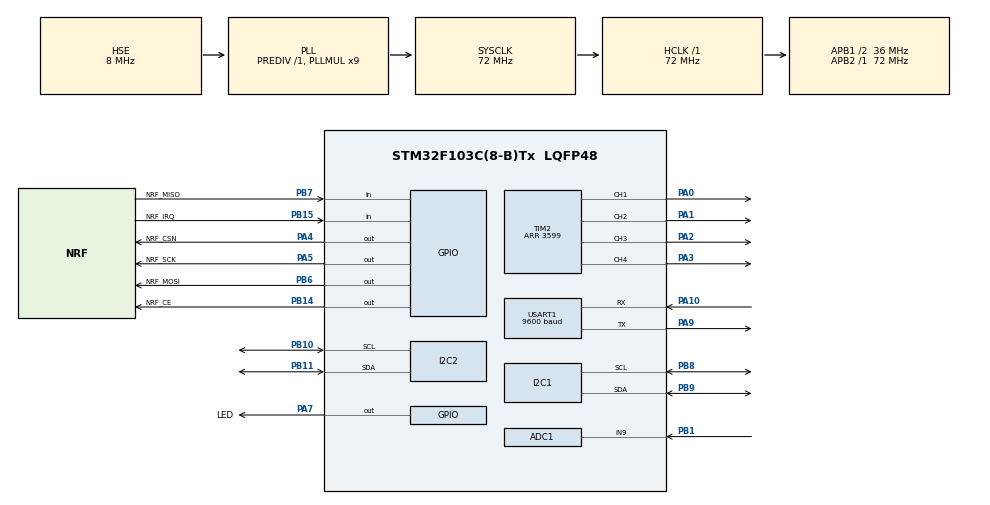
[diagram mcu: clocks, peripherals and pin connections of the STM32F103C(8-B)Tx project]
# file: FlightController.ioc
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ADC1.Channel-0\#ChannelRegularConversion=ADC_CHANNEL_9
ADC1.NbrOfConversionFlag=1
ADC1.Rank-0\#ChannelRegularConversion=1
ADC1.SamplingTime-0\#ChannelRegularConversion=ADC_SAMPLETIME_55CYCLES_5
ADC1.master=1
I2C1.I2C_Mode=I2C_Fast
Mcu.Family=STM32F1
Mcu.Name=STM32F103C(8-B)Tx
Mcu.Package=LQFP48
NVIC.I2C1_ER_IRQn=true\:3\:0\:false\:false\:true\:true\:true\:false
NVIC.I2C1_EV_IRQn=true\:3\:0\:false\:false\:true\:true\:true\:false
NVIC.PriorityGroup=NVIC_PRIORITYGROUP_2
NVIC.TIM1_UP_IRQn=true\:1\:1\:true\:false\:true\:true\:true\:true
NVIC.USART1_IRQn=true\:2\:2\:true\:false\:true\:true\:true\:true
PA0-WKUP.GPIO_Speed=GPIO_SPEED_FREQ_HIGH
PA0-WKUP.Signal=S_TIM2_CH1_ETR
PA1.GPIO_Speed=GPIO_SPEED_FREQ_HIGH
PA1.Signal=S_TIM2_CH2
PA10.Mode=Asynchronous
PA10.Signal=USART1_RX
PA13.Mode=Serial_Wire
PA13.Signal=SYS_JTMS-SWDIO
PA14.Mode=Serial_Wire
PA14.Signal=SYS_JTCK-SWCLK
PA2.GPIO_Speed=GPIO_SPEED_FREQ_HIGH
PA2.Signal=S_TIM2_CH3
PA3.GPIO_Speed=GPIO_SPEED_FREQ_HIGH
PA3.Signal=S_TIM2_CH4
PA4.GPIO_Label=NRF_CSN
PA4.GPIO_Speed=GPIO_SPEED_FREQ_HIGH
PA4.Signal=GPIO_Output
PA5.GPIO_Label=NRF_SCK
PA5.GPIO_Speed=GPIO_SPEED_FREQ_HIGH
PA5.Signal=GPIO_Output
PA7.GPIO_Label=LED
PA7.GPIO_Speed=GPIO_SPEED_FREQ_HIGH
PA7.Signal=GPIO_Output
PA9.Mode=Asynchronous
PA9.Signal=USART1_TX
PB1.Signal=ADCx_IN9
PB10.Mode=I2C
PB10.Signal=I2C2_SCL
PB11.Mode=I2C
PB11.Signal=I2C2_SDA
PB14.GPIO_Label=NRF_CE
PB14.GPIO_Speed=GPIO_SPEED_FREQ_HIGH
PB14.Signal=GPIO_Output
PB15.GPIO_Label=NRF_IRQ
PB15.GPIO_PuPd=GPIO_PULLUP
PB15.Signal=GPIO_Input
PB6.GPIO_Label=NRF_MOSI
PB6.GPIO_Speed=GPIO_SPEED_FREQ_HIGH
PB6.Signal=GPIO_Output
PB7.GPIO_Label=NRF_MISO
PB7.GPIO_PuPd=GPIO_PULLUP
PB7.Signal=GPIO_Input
PB8.Mode=I2C
PB8.Signal=I2C1_SCL
PB9.Mode=I2C
PB9.Signal=I2C1_SDA
PD0-OSC_IN.Mode=HSE-External-Oscillator
PD0-OSC_IN.Signal=RCC_OSC_IN
PD1-OSC_OUT.Mode=HSE-External-Oscillator
PD1-OSC_OUT.Signal=RCC_OSC_OUT
ProjectManager.HeapSize=0x200
ProjectManager.StackSize=0x400
ProjectManager.TargetToolchain=CMake
RCC.ADCPresc=RCC_ADCPCLK2_DIV6
RCC.AHBFreq_Value=72000000
RCC.APB1CLKDivider=RCC_HCLK_DIV2
RCC.APB1Freq_Value=36000000
RCC.APB1TimFreq_Value=72000000
RCC.APB2Freq_Value=72000000
RCC.APB2TimFreq_Value=72000000
RCC.HCLKFreq_Value=72000000
RCC.PLLMUL=RCC_PLL_MUL9
RCC.PLLSourceVirtual=RCC_PLLSOURCE_HSE
RCC.SYSCLKFreq_VALUE=72000000
RCC.SYSCLKSource=RCC_SYSCLKSOURCE_PLLCLK
RCC.USBFreq_Value=72000000
SH.ADCx_IN9.0=ADC1_IN9,IN9
SH.S_TIM2_CH1_ETR.0=TIM2_CH1,PWM Generation1 CH1
SH.S_TIM2_CH2.0=TIM2_CH2,PWM Generation2 CH2
SH.S_TIM2_CH3.0=TIM2_CH3,PWM Generation3 CH3
SH.S_TIM2_CH4.0=TIM2_CH4,PWM Generation4 CH4
TIM1.AutoReloadPreload=TIM_AUTORELOAD_PRELOAD_ENABLE
TIM1.Period=1000-1
TIM1.Prescaler=72-1
TIM2.AutoReloadPreload=TIM_AUTORELOAD_PRELOAD_ENABLE
TIM2.Channel-PWM\ Generation1\ CH1=TIM_CHANNEL_1
TIM2.Channel-PWM\ Generation2\ CH2=TIM_CHANNEL_2
TIM2.Channel-PWM\ Generation3\ CH3=TIM_CHANNEL_3
TIM2.Channel-PWM\ Generation4\ CH4=TIM_CHANNEL_4
TIM2.Period=3599
USART1.BaudRate=9600
USART1.VirtualMode=VM_ASYNC
VP_TIM1_VS_ClockSourceINT.Mode=Internal
VP_TIM2_VS_ClockSourceINT.Mode=Internal
board=custom

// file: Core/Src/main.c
/* USER CODE BEGIN Header */
/**
  ******************************************************************************
  * @file           : main.c
  * @brief          : Main program body
  ******************************************************************************
  * @attention
  *
  * Copyright (c) 2026 STMicroelectronics.
  * All rights reserved.
  *
  * This software is licensed under terms that can be found in the LICENSE file
  * in the root directory of this software component.
  * If no LICENSE file comes with this software, it is provided AS-IS.
  *
  ******************************************************************************
  */
/* USER CODE END Header */
#include "main.h"
#include "adc.h"
#include "i2c.h"
#include "tim.h"
#include "usart.h"
#include "gpio.h"

/* USER CODE BEGIN Includes */
#include "Motor.h"
#include "mpu6050.h"
#include "inv_mpu.h"
#ifdef ATTITUDE_SOURCE_MEKF
#include "attitude_source.h"
#include "f103_port.h"
#endif
#include "OLED.h"
#include "LED.h"
#include "PowerDetection.h"
#include "BlueSerial.h"
#include "Data_Proc.h"
#include "Variable.h"
#include "Delay.h"
#include "NRF24L01.h"
/* USER CODE END Includes */

void SystemClock_Config(void);

int main(void)
{

  /* MCU Configuration--------------------------------------------------------*/

  /* Reset of all peripherals, Initializes the Flash interface and the Systick. */
  HAL_Init();

  /* Configure the system clock */
  SystemClock_Config();

  /* Initialize all configured peripherals */
  MX_GPIO_Init();
  MX_ADC1_Init();
  MX_I2C1_Init();
  MX_I2C2_Init();
  MX_TIM1_Init();
  MX_TIM2_Init();
  MX_USART1_UART_Init();
  /* USER CODE BEGIN 2 */

  Delay_Init();              /* 先启用 DWT，供设备初始化及收发使用 */
#ifdef ATTITUDE_SOURCE_MEKF
  OLED_Init();
  OLED_ShowString(0, 0, "IMU INIT", OLED_8X16);
  OLED_ShowString(0, 16, "KEEP STILL", OLED_8X16);
  OLED_Update();             /* 同步显示，随后才进入阻塞式姿态初始化 */
  AttitudeSource_Init();
#else
  MPU6050_Init();            /* 复位并等待传感器启动后，再核验身份 */
  uint8_t mpu_who_am_i = 0;
  if (mpu6050_read(MPU_ADDR, MPU_DEVICE_ID_REG, 1, &mpu_who_am_i) != 0 ||
      mpu_who_am_i != 0x68)
  {
    Error_Handler();
  }
  volatile uint8_t mpu_dmp_status = MPU6050_DMP_Init();
  if (mpu_dmp_status != 0)
  {
    Error_Handler();
  }
#endif
  LED_Init();
  Motor_Init();              /* HAL_TIM_PWM_Start 四路 + CCR 清零 */
  NRF24L01_Init();           /* 软件 SPI 配寄存器，进 RX 模式 */
  GetBattery_Init();         /* ADC 校准 */
#ifndef ATTITUDE_SOURCE_MEKF
  OLED_Init();               /* 硬件 I2C1；MEKF 已在姿态初始化前启动 */
#endif
  BlueSerial_Init();         /* HAL_UART_Receive_IT 启动接收 */
  if (HAL_TIM_Base_Start_IT(&htim1) != HAL_OK)
  {
    Error_Handler();
  }
  /* USER CODE END 2 */

  /* Infinite loop */
  while (1)
  {
    /* USER CODE BEGIN 3 */
    /* Zero stays pending until the main loop claims the task. */
    if (Attitude_Proc_time == SlowDown)
    {
        Attitude_Proc_time = 1;
        Attitude_Data_Proc();
    }
    if (Receive_Slow_time == SlowDown)
    {
        Receive_Slow_time = 1;
        Data_Receive();
    }
    if (Proc_Slow_time == SlowDown)
    {
        Proc_Slow_time = 1;
        Data_Proc();
    }
    if (Show_Slow_time == SlowDown)
    {
        Show_Slow_time = 1;
        Data_Display();
        BlueSerial_SendWave();
    }
    if (PowerDete_Slow_time == SlowDown)
    {
        PowerDete_Slow_time = 1;
        GetCur_Power();
    }
    OLED_Task();
  }
  /* USER CODE END 3 */
}

void SystemClock_Config(void)
{
  RCC_OscInitTypeDef RCC_OscInitStruct = {0};
  RCC_ClkInitTypeDef RCC_ClkInitStruct = {0};
  RCC_PeriphCLKInitTypeDef PeriphClkInit = {0};

  /** Initializes the RCC Oscillators according to the specified parameters
  * in the RCC_OscInitTypeDef structure.
  */
  RCC_OscInitStruct.OscillatorType = RCC_OSCILLATORTYPE_HSE;
  RCC_OscInitStruct.HSEState = RCC_HSE_ON;
  RCC_OscInitStruct.HSEPredivValue = RCC_HSE_PREDIV_DIV1;
  RCC_OscInitStruct.HSIState = RCC_HSI_ON;
  RCC_OscInitStruct.PLL.PLLState = RCC_PLL_ON;
  RCC_OscInitStruct.PLL.PLLSource = RCC_PLLSOURCE_HSE;
  RCC_OscInitStruct.PLL.PLLMUL = RCC_PLL_MUL9;
  if (HAL_RCC_OscConfig(&RCC_OscInitStruct) != HAL_OK)
  {
    Error_Handler();
  }

  /** Initializes the CPU, AHB and APB buses clocks
  */
  RCC_ClkInitStruct.ClockType = RCC_CLOCKTYPE_HCLK|RCC_CLOCKTYPE_SYSCLK
                              |RCC_CLOCKTYPE_PCLK1|RCC_CLOCKTYPE_PCLK2;
  RCC_ClkInitStruct.SYSCLKSource = RCC_SYSCLKSOURCE_PLLCLK;
  RCC_ClkInitStruct.AHBCLKDivider = RCC_SYSCLK_DIV1;
  RCC_ClkInitStruct.APB1CLKDivider = RCC_HCLK_DIV2;
  RCC_ClkInitStruct.APB2CLKDivider = RCC_HCLK_DIV1;

  if (HAL_RCC_ClockConfig(&RCC_ClkInitStruct, FLASH_LATENCY_2) != HAL_OK)
  {
    Error_Handler();
  }
  PeriphClkInit.PeriphClockSelection = RCC_PERIPHCLK_ADC;
  PeriphClkInit.AdcClockSelection = RCC_ADCPCLK2_DIV6;
  if (HAL_RCCEx_PeriphCLKConfig(&PeriphClkInit) != HAL_OK)
  {
    Error_Handler();
  }
}

/* USER CODE BEGIN 4 */
void HAL_TIM_PeriodElapsedCallback(TIM_HandleTypeDef *htim)
{
    if (htim->Instance == TIM1)
    {
        /* 1 ms tick; pending background tasks remain at zero. */
        if (Receive_Slow_time != SlowDown && ++Receive_Slow_time > 6) Receive_Slow_time = SlowDown;
        if (Proc_Slow_time != SlowDown && ++Proc_Slow_time > 20) Proc_Slow_time = SlowDown;
        if (Show_Slow_time != SlowDown && ++Show_Slow_time > 50) Show_Slow_time = SlowDown;
#ifdef ATTITUDE_SOURCE_MEKF
        /* 与 MEKF 前台服务周期一致，避免 4 ms 槽与 5 ms 门限叠加成 8 ms。 */
        if (Attitude_Proc_time != SlowDown && ++Attitude_Proc_time > IMU_SERVICE_PERIOD_MS) Attitude_Proc_time = SlowDown;
#else
        if (Attitude_Proc_time != SlowDown && ++Attitude_Proc_time > 4) Attitude_Proc_time = SlowDown;
#endif
        /* After reset to zero, > 3 invokes the flight task every 4 ms. */
        if (++Task_Slow_time > 3)
        {
            Task_Slow_time = 0;
            Fly_task();
        }
        if (PowerDete_Slow_time != SlowDown && ++PowerDete_Slow_time > 10) PowerDete_Slow_time = SlowDown;
        LED_Detect();
        if (connect_time < 500) connect_time++;
        if (connect_time >= 500)
        {
            connect_protect = 1;
            Lock = 1;
            Oil_Get = Oil_Set = 0;
            getpitch = getroll = 50;
            getyaw = 100;
        }
    }
}

/* USER CODE END 4 */

void Error_Handler(void)
{
  __disable_irq();
  while (1)
  {
  }
}
